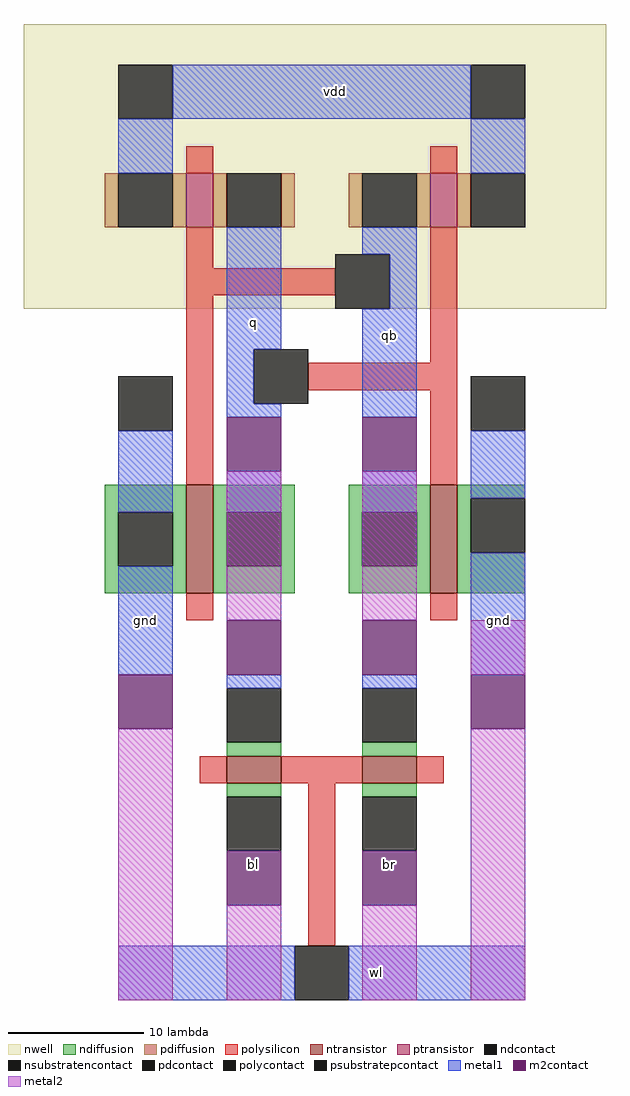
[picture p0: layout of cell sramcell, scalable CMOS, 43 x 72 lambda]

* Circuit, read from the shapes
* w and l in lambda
.subckt sramcell bl br gnd q qb vdd wl
M1 q qb gnd gnd nfet w=8 l=2
M2 q wl bl gnd nfet w=4 l=2
M3 qb wl br gnd nfet w=4 l=2
M4 gnd q qb gnd nfet w=8 l=2
M5 q qb vdd vdd pfet w=4 l=2
M6 vdd q qb vdd pfet w=4 l=2
.ends

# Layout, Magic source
magic
tech scmos
<< nwell >>
rect -7 2 36 23
<< ntransistor >>
rect 5 -19 7 -11
rect 23 -19 25 -11
rect 8 -33 12 -31
rect 18 -33 22 -31
<< ptransistor >>
rect 5 8 7 12
rect 23 8 25 12
<< ndiffusion >>
rect -1 -13 5 -11
rect -1 -17 0 -13
rect 4 -17 5 -13
rect -1 -19 5 -17
rect 7 -13 13 -11
rect 7 -17 8 -13
rect 12 -17 13 -13
rect 7 -19 13 -17
rect 17 -13 23 -11
rect 17 -17 18 -13
rect 22 -17 23 -13
rect 17 -19 23 -17
rect 25 -12 30 -11
rect 25 -16 26 -12
rect 25 -19 30 -16
rect 8 -31 12 -30
rect 18 -31 22 -30
rect 8 -34 12 -33
rect 18 -34 22 -33
<< pdiffusion >>
rect -1 8 0 12
rect 4 8 5 12
rect 7 8 8 12
rect 12 8 13 12
rect 17 8 18 12
rect 22 8 23 12
rect 25 8 26 12
<< ndcontact >>
rect 0 -17 4 -13
rect 8 -17 12 -13
rect 18 -17 22 -13
rect 26 -16 30 -12
rect 8 -30 12 -26
rect 18 -30 22 -26
rect 8 -38 12 -34
rect 18 -38 22 -34
<< pdcontact >>
rect 0 8 4 12
rect 8 8 12 12
rect 18 8 22 12
rect 26 8 30 12
<< psubstratepcontact >>
rect 0 -7 4 -3
rect 26 -7 30 -3
<< nsubstratencontact >>
rect 0 16 4 20
rect 26 16 30 20
<< polysilicon >>
rect 5 12 7 14
rect 23 12 25 14
rect 5 5 7 8
rect 5 3 16 5
rect 5 -11 7 3
rect 23 -2 25 8
rect 14 -4 25 -2
rect 23 -11 25 -4
rect 5 -21 7 -19
rect 23 -21 25 -19
rect 6 -33 8 -31
rect 12 -33 18 -31
rect 22 -33 24 -31
rect 14 -45 16 -33
<< polycontact >>
rect 16 2 20 6
rect 10 -5 14 -1
rect 13 -49 17 -45
<< metal1 >>
rect 4 16 26 20
rect 0 12 4 16
rect 26 12 30 16
rect 8 -1 12 8
rect 18 6 22 8
rect 20 2 22 6
rect 0 -13 4 -7
rect 8 -5 10 -1
rect 8 -6 12 -5
rect 8 -13 12 -10
rect 18 -6 22 2
rect 18 -13 22 -10
rect 26 -12 30 -7
rect 0 -25 4 -17
rect 8 -26 12 -25
rect 18 -26 22 -25
rect 26 -25 30 -16
rect 0 -49 13 -45
rect 17 -49 30 -45
<< m2contact >>
rect 8 -10 12 -6
rect 18 -10 22 -6
rect 0 -29 4 -25
rect 8 -25 12 -21
rect 18 -25 22 -21
rect 26 -29 30 -25
rect 8 -42 12 -38
rect 18 -42 22 -38
<< metal2 >>
rect 8 -21 12 -10
rect 18 -21 22 -10
rect 26 -25 30 -21
rect 0 -49 4 -29
rect 8 -49 12 -42
rect 18 -49 22 -42
rect 26 -49 30 -29
<< labels >>
rlabel metal1 19 -47 19 -47 1 wl
rlabel metal1 16 18 16 18 5 vdd
rlabel metal1 20 0 20 0 1 qb
rlabel metal1 28 -21 28 -21 1 gnd
rlabel m2contact 20 -39 20 -39 1 br
rlabel m2contact 10 -39 10 -39 1 bl
rlabel metal1 2 -21 2 -21 1 gnd
rlabel metal1 10 1 10 1 1 q
<< end >>
